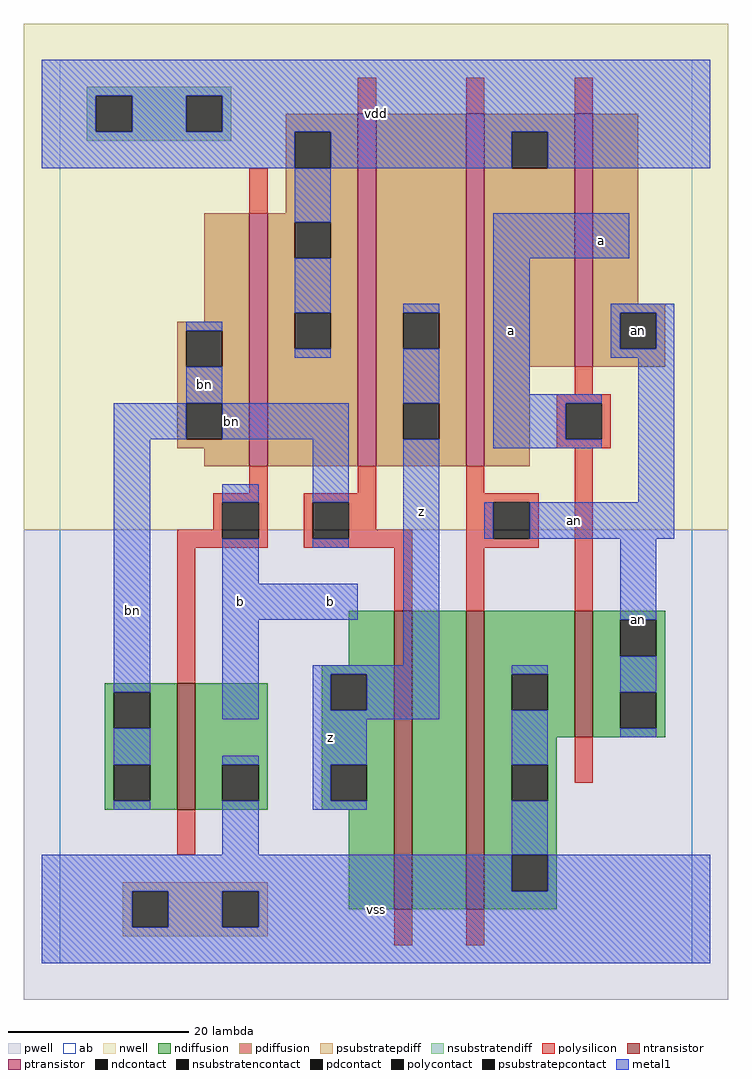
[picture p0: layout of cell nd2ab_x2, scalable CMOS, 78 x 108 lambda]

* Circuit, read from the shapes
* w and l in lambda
.subckt nd2ab_x2 a an b bn vdd vss z
M1 vss b bn vss nfet w=14 l=2
M2 n1 bn z vss nfet w=33 l=2
M3 vss an n1 vss nfet w=33 l=2
M4 an a vss vss nfet w=14 l=2
M5 vdd b bn vdd pfet w=28 l=2
M6 z bn vdd vdd pfet w=39 l=2
M7 vdd an z vdd pfet w=39 l=2
M8 an a vdd vdd pfet w=28 l=2
.ends

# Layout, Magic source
magic
tech scmos
<< ab >>
rect 0 0 70 100
<< pwell >>
rect -4 -4 74 48
<< nwell >>
rect -4 48 74 104
<< polysilicon >>
rect 33 94 35 98
rect 45 94 47 98
rect 57 94 59 98
rect 21 83 23 88
rect 57 63 59 66
rect 55 62 61 63
rect 55 58 56 62
rect 60 58 61 62
rect 55 57 61 58
rect 21 52 23 55
rect 33 52 35 55
rect 17 51 23 52
rect 17 48 18 51
rect 13 47 18 48
rect 22 47 23 51
rect 13 46 23 47
rect 27 51 35 52
rect 27 47 28 51
rect 32 48 35 51
rect 45 52 47 55
rect 45 51 53 52
rect 32 47 39 48
rect 27 46 39 47
rect 13 31 15 46
rect 37 39 39 46
rect 45 47 48 51
rect 52 47 53 51
rect 45 46 53 47
rect 45 39 47 46
rect 57 39 59 57
rect 13 12 15 17
rect 57 20 59 25
rect 37 2 39 6
rect 45 2 47 6
<< ndiffusion >>
rect 32 33 37 39
rect 29 32 37 33
rect 5 30 13 31
rect 5 26 6 30
rect 10 26 13 30
rect 5 22 13 26
rect 5 18 6 22
rect 10 18 13 22
rect 5 17 13 18
rect 15 22 23 31
rect 15 18 18 22
rect 22 18 23 22
rect 15 17 23 18
rect 29 28 30 32
rect 34 28 37 32
rect 29 22 37 28
rect 29 18 30 22
rect 34 18 37 22
rect 29 17 37 18
rect 32 6 37 17
rect 39 6 45 39
rect 47 32 57 39
rect 47 28 50 32
rect 54 28 57 32
rect 47 25 57 28
rect 59 38 67 39
rect 59 34 62 38
rect 66 34 67 38
rect 59 30 67 34
rect 59 26 62 30
rect 66 26 67 30
rect 59 25 67 26
rect 47 22 55 25
rect 47 18 50 22
rect 54 18 55 22
rect 47 12 55 18
rect 47 8 50 12
rect 54 8 55 12
rect 47 6 55 8
<< pdiffusion >>
rect 25 92 33 94
rect 25 88 26 92
rect 30 88 33 92
rect 25 83 33 88
rect 16 71 21 83
rect 13 70 21 71
rect 13 66 14 70
rect 18 66 21 70
rect 13 62 21 66
rect 13 58 14 62
rect 18 58 21 62
rect 13 57 21 58
rect 16 55 21 57
rect 23 82 33 83
rect 23 78 26 82
rect 30 78 33 82
rect 23 72 33 78
rect 23 68 26 72
rect 30 68 33 72
rect 23 55 33 68
rect 35 72 45 94
rect 35 68 38 72
rect 42 68 45 72
rect 35 62 45 68
rect 35 58 38 62
rect 42 58 45 62
rect 35 55 45 58
rect 47 92 57 94
rect 47 88 50 92
rect 54 88 57 92
rect 47 66 57 88
rect 59 73 64 94
rect 59 72 67 73
rect 59 68 62 72
rect 66 68 67 72
rect 59 66 67 68
rect 47 55 52 66
<< metal1 >>
rect -2 96 72 100
rect -2 92 4 96
rect 8 92 14 96
rect 18 92 72 96
rect -2 88 26 92
rect 30 88 50 92
rect 54 88 72 92
rect 26 82 30 88
rect 26 72 30 78
rect 48 78 63 83
rect 14 70 18 71
rect 26 67 30 68
rect 38 72 42 73
rect 14 62 18 66
rect 38 62 42 68
rect 6 58 14 62
rect 18 58 32 62
rect 6 30 10 58
rect 18 51 22 53
rect 18 42 22 47
rect 28 51 32 58
rect 28 46 32 47
rect 18 38 33 42
rect 18 27 22 38
rect 38 33 42 58
rect 48 63 52 78
rect 61 72 68 73
rect 61 68 62 72
rect 66 68 68 72
rect 61 67 68 68
rect 48 62 60 63
rect 48 58 56 62
rect 48 57 60 58
rect 64 51 68 67
rect 47 47 48 51
rect 52 47 68 51
rect 62 38 66 47
rect 28 32 42 33
rect 28 28 30 32
rect 34 28 42 32
rect 28 27 42 28
rect 50 32 54 33
rect 6 22 10 26
rect 6 17 10 18
rect 18 22 22 23
rect 18 12 22 18
rect 28 22 34 27
rect 28 18 30 22
rect 28 17 34 18
rect 50 22 54 28
rect 62 30 66 34
rect 62 25 66 26
rect 50 12 54 18
rect -2 8 50 12
rect 54 8 72 12
rect -2 4 8 8
rect 12 4 18 8
rect 22 4 72 8
rect -2 0 72 4
<< ntransistor >>
rect 13 17 15 31
rect 37 6 39 39
rect 45 6 47 39
rect 57 25 59 39
<< ptransistor >>
rect 21 55 23 83
rect 33 55 35 94
rect 45 55 47 94
rect 57 66 59 94
<< polycontact >>
rect 56 58 60 62
rect 18 47 22 51
rect 28 47 32 51
rect 48 47 52 51
<< ndcontact >>
rect 6 26 10 30
rect 6 18 10 22
rect 18 18 22 22
rect 30 28 34 32
rect 30 18 34 22
rect 50 28 54 32
rect 62 34 66 38
rect 62 26 66 30
rect 50 18 54 22
rect 50 8 54 12
<< pdcontact >>
rect 26 88 30 92
rect 14 66 18 70
rect 14 58 18 62
rect 26 78 30 82
rect 26 68 30 72
rect 38 68 42 72
rect 38 58 42 62
rect 50 88 54 92
rect 62 68 66 72
<< psubstratepcontact >>
rect 8 4 12 8
rect 18 4 22 8
<< nsubstratencontact >>
rect 4 92 8 96
rect 14 92 18 96
<< psubstratepdiff >>
rect 7 8 23 9
rect 7 4 8 8
rect 12 4 18 8
rect 22 4 23 8
rect 7 3 23 4
<< nsubstratendiff >>
rect 3 96 19 97
rect 3 92 4 96
rect 8 92 14 96
rect 18 92 19 96
rect 3 91 19 92
<< labels >>
rlabel metal1 8 39 8 39 6 bn
rlabel metal1 20 40 20 40 6 b
rlabel metal1 16 64 16 64 6 bn
rlabel metal1 35 6 35 6 6 vss
rlabel metal1 30 25 30 25 6 z
rlabel metal1 30 40 30 40 6 b
rlabel metal1 19 60 19 60 6 bn
rlabel metal1 35 94 35 94 6 vdd
rlabel metal1 40 50 40 50 6 z
rlabel metal1 50 70 50 70 6 a
rlabel metal1 64 38 64 38 6 an
rlabel metal1 57 49 57 49 6 an
rlabel pdcontact 64 70 64 70 6 an
rlabel metal1 60 80 60 80 6 a
<< end >>
